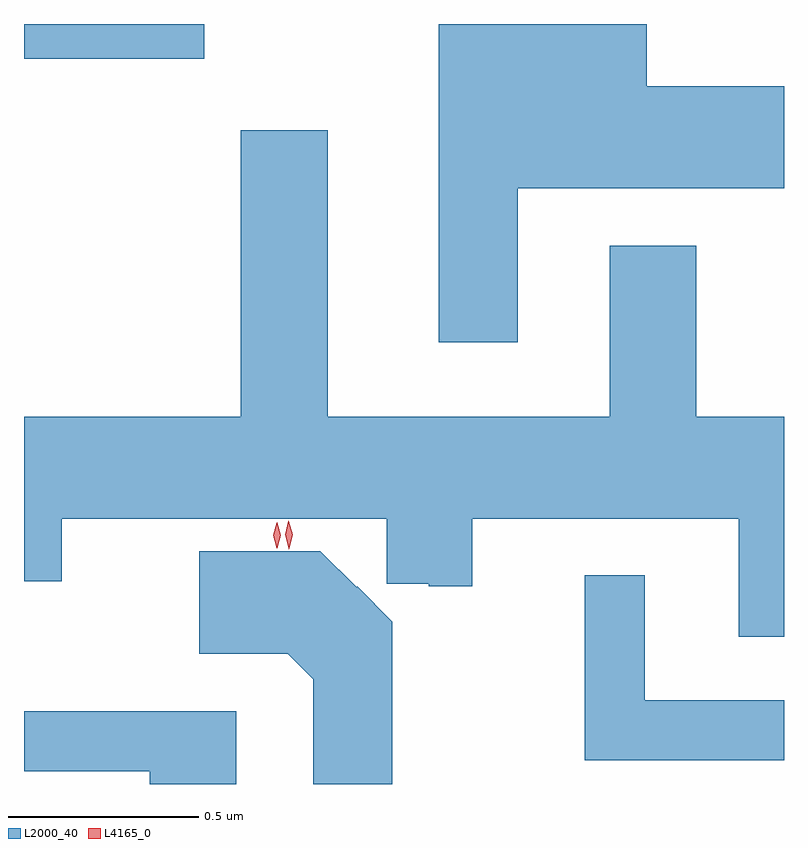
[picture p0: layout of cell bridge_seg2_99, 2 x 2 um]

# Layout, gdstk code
import gdstk
lib = gdstk.Library(unit=1e-6, precision=1e-09)
def R(c, l, rs):  # rectangles x0, y0, x1, y1
    for r in rs: c.add(gdstk.rectangle(r[:2], r[2:], *l))
def P(c, l, *ps):  # polygons
    for p in ps: c.add(gdstk.Polygon(p, *l))
L2000_40 = (2000, 40)
L4165_0 = (4165, 0)

bridge_seg2_99 = lib.new_cell('bridge_seg2_99')
R(bridge_seg2_99, L2000_40, [(1248.79,996.246,1249.264,996.338)])
P(bridge_seg2_99, L2000_40, [(1250.089,995.906),(1250.79,995.906),(1250.79,996.174),(1250.429,996.174),(1250.429,996.338),(1249.881,996.338),(1249.881,995.501),(1250.089,995.501)],
  [(1250.79,995.304),(1250.559,995.304),(1250.559,995.754),(1250.331,995.754),(1250.331,995.304),(1249.589,995.304),(1249.589,996.059),(1249.361,996.059),(1249.361,995.304),(1248.79,995.304),(1248.79,994.871),(1248.889,994.871),(1248.889,995.036),(1249.745,995.036),(1249.745,994.865),(1249.855,994.865),(1249.855,994.858),(1249.969,994.858),(1249.969,995.036),(1250.671,995.036),(1250.671,994.726),(1250.79,994.726)],
  [(1249.759,994.765),(1249.667,994.858),(1249.665,994.856),(1249.57,994.95),(1249.251,994.95),(1249.251,994.681),(1249.484,994.681),(1249.551,994.614),(1249.551,994.338),(1249.759,994.338)],
  [(1250.79,994.559),(1250.424,994.559),(1250.424,994.888),(1250.266,994.888),(1250.266,994.401),(1250.79,994.401)],
  [(1249.349,994.529),(1248.79,994.529),(1248.79,994.371),(1249.121,994.371),(1249.121,994.338),(1249.349,994.338)])
P(bridge_seg2_99, L4165_0, [(1249.487,994.956),(1249.487,994.957),(1249.477,994.994),(1249.486,995.03),(1249.487,995.031),(1249.487,995.03),(1249.497,994.994),(1249.488,994.957)],
  [(1249.456,994.958),(1249.455,994.959),(1249.446,994.993),(1249.455,995.026),(1249.456,995.027),(1249.456,995.026),(1249.465,994.993),(1249.456,994.959)])

lib.write_gds('bridge_seg2_99.gds')
